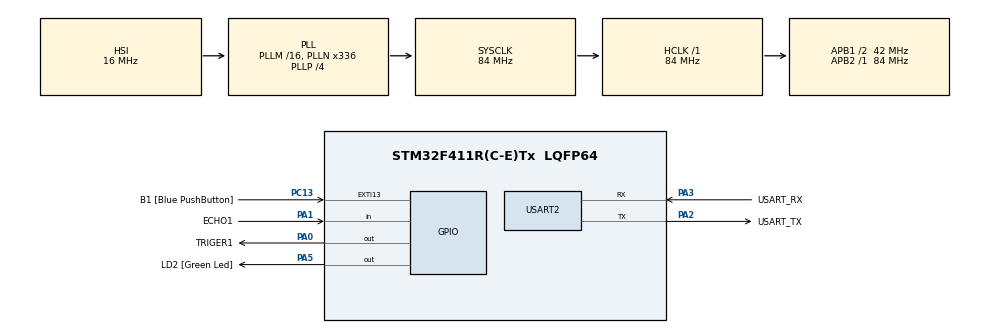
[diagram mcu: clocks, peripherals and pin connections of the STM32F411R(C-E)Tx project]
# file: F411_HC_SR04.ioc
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Mcu.Family=STM32F4
Mcu.Name=STM32F411R(C-E)Tx
Mcu.Package=LQFP64
NVIC.PriorityGroup=NVIC_PRIORITYGROUP_0
<<<<<<< HEAD
PA0-WKUP.GPIO_Label=ECHO1
PA0-WKUP.Signal=GPIO_Input
PA1.GPIO_Label=TRIGER1
PA1.Signal=GPIO_Output
=======
PA0-WKUP.GPIO_Label=TRIGER1
PA0-WKUP.Signal=GPIO_Output
PA1.GPIO_Label=ECHO1
PA1.Signal=GPIO_Input
>>>>>>> ef8b83fd473741e83a6c907f2e8680429d9dd87d
PA13.GPIO_Label=TMS
PA13.Mode=Serial_Wire
PA13.Signal=SYS_JTMS-SWDIO
PA14.GPIO_Label=TCK
PA14.Mode=Serial_Wire
PA14.Signal=SYS_JTCK-SWCLK
PA2.GPIO_Label=USART_TX
PA2.Mode=Asynchronous
PA2.Signal=USART2_TX
PA3.GPIO_Label=USART_RX
PA3.Mode=Asynchronous
PA3.Signal=USART2_RX
PA5.GPIO_Label=LD2 [Green Led]
PA5.Signal=GPIO_Output
PB3.GPIO_Label=SWO
PB3.Signal=SYS_JTDO-SWO
PC13-ANTI_TAMP.GPIO_Label=B1 [Blue PushButton]
PC13-ANTI_TAMP.GPIO_ModeDefaultEXTI=GPIO_MODE_IT_FALLING
PC13-ANTI_TAMP.Signal=GPXTI13
PC14-OSC32_IN.Signal=RCC_OSC32_IN
PC15-OSC32_OUT.Signal=RCC_OSC32_OUT
PH0\ -\ OSC_IN.Signal=RCC_OSC_IN
PH1\ -\ OSC_OUT.Signal=RCC_OSC_OUT
ProjectManager.HeapSize=0x200
ProjectManager.StackSize=0x400
ProjectManager.TargetToolchain=STM32CubeIDE
RCC.48MHZClocksFreq_Value=84000000
RCC.AHBFreq_Value=84000000
RCC.APB1CLKDivider=RCC_HCLK_DIV2
RCC.APB1Freq_Value=42000000
RCC.APB1TimFreq_Value=84000000
RCC.APB2Freq_Value=84000000
RCC.APB2TimFreq_Value=84000000
RCC.CortexFreq_Value=84000000
RCC.FLatency-AdvancedSettings=FLASH_LATENCY_2
RCC.HCLKFreq_Value=84000000
RCC.HSE_VALUE=8000000
RCC.HSI_VALUE=16000000
RCC.PLLN=336
RCC.PLLP=RCC_PLLP_DIV4
RCC.SYSCLKFreq_VALUE=84000000
RCC.SYSCLKSource=RCC_SYSCLKSOURCE_PLLCLK
RCC.VCOOutputFreq_Value=336000000
TIM1.AutoReloadPreload=TIM_AUTORELOAD_PRELOAD_ENABLE
TIM1.Prescaler=84-1
USART2.VirtualMode=VM_ASYNC
VP_TIM1_VS_ClockSourceINT.Mode=Internal
board=NUCLEO-F411RE

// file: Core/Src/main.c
/* USER CODE BEGIN Header */
/**
  ******************************************************************************
  * @file           : main.c
  * @brief          : Main program body
  ******************************************************************************
  * @attention
  *
  * Copyright (c) 2026 STMicroelectronics.
  * All rights reserved.
  *
  * This software is licensed under terms that can be found in the LICENSE file
  * in the root directory of this software component.
  * If no LICENSE file comes with this software, it is provided AS-IS.
  *
  ******************************************************************************
  */
/* USER CODE END Header */
#include "main.h"
#include "ultrasonic.h"

/* USER CODE BEGIN Includes */
#include <stdio.h>
/* USER CODE END Includes */

/* USER CODE BEGIN PD */
#define HIGH 1
#define LOW 0
long unsigned int echo_time;
int dist;
/* USER CODE END PD */

TIM_HandleTypeDef htim1;

UART_HandleTypeDef huart2;

void SystemClock_Config(void);
static void MX_GPIO_Init(void);
static void MX_USART2_UART_Init(void);
static void MX_TIM1_Init(void);

/* USER CODE BEGIN 0 */
#ifdef __GNUC__
/* With GCC, small printf (option LD Linker->Libraries->Small printf
   set to 'Yes') calls __io_putchar() */
#define PUTCHAR_PROTOTYPE int __io_putchar(int ch)
#else
#define PUTCHAR_PROTOTYPE int fputc(int ch, FILE *f)
#endif /* __GNUC__ */

/**
  * @brief  Retargets the C library printf function to the USART.
  * @param  None
  * @retval None
  */
PUTCHAR_PROTOTYPE
{
  /* Place your implementation of fputc here */
  /* e.g. write a character to the USART1 and Loop until the end of transmission */
  if (ch == '\n')
    HAL_UART_Transmit (&huart2, (uint8_t*) "\r", 1, 0xFFFF);
  HAL_UART_Transmit (&huart2, (uint8_t*) &ch, 1, 0xFFFF);

  return ch;
}

//void timer_start(void)
//{
//   HAL_TIM_Base_Start(&htim1);
//}

//void delay_us(uint16_t us)
//{
//   __HAL_TIM_SET_COUNTER(&htim1, 0); // initislize counter to start from 0
//   while((__HAL_TIM_GET_COUNTER(&htim1))<us); // wait count until us
//}

//void trig(void)
//{
//   HAL_GPIO_WritePin(TRIGER1_GPIO_Port, TRIGER1_Pin, HIGH);
//   delay_us(10);
//   HAL_GPIO_WritePin(TRIGER1_GPIO_Port, TRIGER1_Pin, LOW);
//}

/**
* @brief echo 신호가 HIGH를 유지하는 시간을 (㎲)단위로 측정하여 리턴한다.
* @param no param(void)
*/
//long unsigned int echo(void)
//{
//   long unsigned int echo = 0;
//
//   while(HAL_GPIO_ReadPin(ECHO1_GPIO_Port, ECHO1_Pin) == LOW){}
//        __HAL_TIM_SET_COUNTER(&htim1, 0);
//        while(HAL_GPIO_ReadPin(ECHO1_GPIO_Port, ECHO1_Pin) == HIGH);
//        echo = __HAL_TIM_GET_COUNTER(&htim1);
//   if( echo >= 240 && echo <= 23000 ) return echo;
//   else return 0;
//}

//uint32_t echo(void) {
//    uint32_t start_tick, start_time, end_time;
//
//    // ECHO HIGH 대기 (최대 10ms)
//    start_tick = HAL_GetTick();
//    while (HAL_GPIO_ReadPin(ECHO1_GPIO_Port, ECHO1_Pin) == GPIO_PIN_RESET) {
//        if ((HAL_GetTick() - start_tick) > 10) return 0;  // 10ms 초과 → 실패
//    }
//    start_time = __HAL_TIM_GET_COUNTER(&htim1);
//
//    // ECHO LOW 대기 (최대 30ms = HC-SR04 최대 측정 시간)
//    start_tick = HAL_GetTick();
//    while (HAL_GPIO_ReadPin(ECHO1_GPIO_Port, ECHO1_Pin) == GPIO_PIN_SET) {
//        if ((HAL_GetTick() - start_tick) > 30) return 0;  // 30ms 초과 → 범위 초과
//    }
//    end_time = __HAL_TIM_GET_COUNTER(&htim1);
//
//    return end_time - start_time;
//}
static void Sensor_Task(void)
{
  Ultrasonic_Result result;
  char line[80];

  Ultrasonic_Task();

  if (Ultrasonic_GetResult(&result) != 0U)
  {
    (void)snprintf(line, sizeof(line), "D,%lu,%u,%u,%lu\r\n",
                   (unsigned long)result.timestamp_ms,
                   (unsigned int)result.distance_mm,
                   (unsigned int)result.valid,
                   (unsigned long)result.errors);
   printf(line);
  }
/* USER CODE END 0 */

int main(void)
{

  /* MCU Configuration--------------------------------------------------------*/

  /* Reset of all peripherals, Initializes the Flash interface and the Systick. */
  HAL_Init();

  /* Configure the system clock */
  SystemClock_Config();

  /* Initialize all configured peripherals */
  MX_GPIO_Init();
  MX_USART2_UART_Init();
  MX_TIM1_Init();
  /* USER CODE BEGIN 2 */
  Ultrasonic_Init();
//  timer_start();
//  printf("Ranging with HC-SR04\n");
  /* USER CODE END 2 */

  /* Infinite loop */
  /* USER CODE BEGIN WHILE */
  while (1)
  {

	  Sensor_Task();// osilloscope_Trigger_Mode execute
//	  trig();
//	      echo_time = echo();
//	      if( echo_time != 0){
//	          dist = (int)(17 * echo_time / 100);
//	          printf("Distance = %d(mm)\n", dist);
//	      }
//	      else printf("Out of Range!\n");
//          HAL_Delay(200); /* 이 부분을 넣지 않으면 결과가 연속적으로 putty에서 보이지 않았음 */
    /* USER CODE END WHILE */

  }
}

void SystemClock_Config(void)
{
  RCC_OscInitTypeDef RCC_OscInitStruct = {0};
  RCC_ClkInitTypeDef RCC_ClkInitStruct = {0};

  /** Configure the main internal regulator output voltage
  */
  __HAL_RCC_PWR_CLK_ENABLE();
  __HAL_PWR_VOLTAGESCALING_CONFIG(PWR_REGULATOR_VOLTAGE_SCALE1);

  /** Initializes the RCC Oscillators according to the specified parameters
  * in the RCC_OscInitTypeDef structure.
  */
  RCC_OscInitStruct.OscillatorType = RCC_OSCILLATORTYPE_HSI;
  RCC_OscInitStruct.HSIState = RCC_HSI_ON;
  RCC_OscInitStruct.HSICalibrationValue = RCC_HSICALIBRATION_DEFAULT;
  RCC_OscInitStruct.PLL.PLLState = RCC_PLL_ON;
  RCC_OscInitStruct.PLL.PLLSource = RCC_PLLSOURCE_HSI;
  RCC_OscInitStruct.PLL.PLLM = 16;
  RCC_OscInitStruct.PLL.PLLN = 336;
  RCC_OscInitStruct.PLL.PLLP = RCC_PLLP_DIV4;
  RCC_OscInitStruct.PLL.PLLQ = 4;
  if (HAL_RCC_OscConfig(&RCC_OscInitStruct) != HAL_OK)
  {
    Error_Handler();
  }

  /** Initializes the CPU, AHB and APB buses clocks
  */
  RCC_ClkInitStruct.ClockType = RCC_CLOCKTYPE_HCLK|RCC_CLOCKTYPE_SYSCLK
                              |RCC_CLOCKTYPE_PCLK1|RCC_CLOCKTYPE_PCLK2;
  RCC_ClkInitStruct.SYSCLKSource = RCC_SYSCLKSOURCE_PLLCLK;
  RCC_ClkInitStruct.AHBCLKDivider = RCC_SYSCLK_DIV1;
  RCC_ClkInitStruct.APB1CLKDivider = RCC_HCLK_DIV2;
  RCC_ClkInitStruct.APB2CLKDivider = RCC_HCLK_DIV1;

  if (HAL_RCC_ClockConfig(&RCC_ClkInitStruct, FLASH_LATENCY_2) != HAL_OK)
  {
    Error_Handler();
  }
}

static void MX_TIM1_Init(void)
{

  TIM_ClockConfigTypeDef sClockSourceConfig = {0};
  TIM_MasterConfigTypeDef sMasterConfig = {0};

  htim1.Instance = TIM1;
  htim1.Init.Prescaler = 84-1;
  htim1.Init.CounterMode = TIM_COUNTERMODE_UP;
  htim1.Init.Period = 65535;
  htim1.Init.ClockDivision = TIM_CLOCKDIVISION_DIV1;
  htim1.Init.RepetitionCounter = 0;
  htim1.Init.AutoReloadPreload = TIM_AUTORELOAD_PRELOAD_ENABLE;
  if (HAL_TIM_Base_Init(&htim1) != HAL_OK)
  {
    Error_Handler();
  }
  sClockSourceConfig.ClockSource = TIM_CLOCKSOURCE_INTERNAL;
  if (HAL_TIM_ConfigClockSource(&htim1, &sClockSourceConfig) != HAL_OK)
  {
    Error_Handler();
  }
  sMasterConfig.MasterOutputTrigger = TIM_TRGO_RESET;
  sMasterConfig.MasterSlaveMode = TIM_MASTERSLAVEMODE_DISABLE;
  if (HAL_TIMEx_MasterConfigSynchronization(&htim1, &sMasterConfig) != HAL_OK)
  {
    Error_Handler();
  }

}

static void MX_USART2_UART_Init(void)
{

  huart2.Instance = USART2;
  huart2.Init.BaudRate = 115200;
  huart2.Init.WordLength = UART_WORDLENGTH_8B;
  huart2.Init.StopBits = UART_STOPBITS_1;
  huart2.Init.Parity = UART_PARITY_NONE;
  huart2.Init.Mode = UART_MODE_TX_RX;
  huart2.Init.HwFlowCtl = UART_HWCONTROL_NONE;
  huart2.Init.OverSampling = UART_OVERSAMPLING_16;
  if (HAL_UART_Init(&huart2) != HAL_OK)
  {
    Error_Handler();
  }

}

static void MX_GPIO_Init(void)
{
  GPIO_InitTypeDef GPIO_InitStruct = {0};

  /* GPIO Ports Clock Enable */
  __HAL_RCC_GPIOC_CLK_ENABLE();
  __HAL_RCC_GPIOH_CLK_ENABLE();
  __HAL_RCC_GPIOA_CLK_ENABLE();
  __HAL_RCC_GPIOB_CLK_ENABLE();

  /*Configure GPIO pin Output Level */
  HAL_GPIO_WritePin(GPIOA, TRIGER1_Pin|LD2_Pin, GPIO_PIN_RESET);

  /*Configure GPIO pin : B1_Pin */
  GPIO_InitStruct.Pin = B1_Pin;
  GPIO_InitStruct.Mode = GPIO_MODE_IT_FALLING;
  GPIO_InitStruct.Pull = GPIO_NOPULL;
  HAL_GPIO_Init(B1_GPIO_Port, &GPIO_InitStruct);

  /*Configure GPIO pin : ECHO1_Pin */
  GPIO_InitStruct.Pin = ECHO1_Pin;
  GPIO_InitStruct.Mode = GPIO_MODE_INPUT;
  GPIO_InitStruct.Pull = GPIO_NOPULL;
  HAL_GPIO_Init(ECHO1_GPIO_Port, &GPIO_InitStruct);

  /*Configure GPIO pins : TRIGER1_Pin LD2_Pin */
  GPIO_InitStruct.Pin = TRIGER1_Pin|LD2_Pin;
  GPIO_InitStruct.Mode = GPIO_MODE_OUTPUT_PP;
  GPIO_InitStruct.Pull = GPIO_NOPULL;
  GPIO_InitStruct.Speed = GPIO_SPEED_FREQ_LOW;
  HAL_GPIO_Init(GPIOA, &GPIO_InitStruct);

}

/* USER CODE BEGIN 4 */
void HAL_GPIO_EXTI_Callback(uint16_t GPIO_Pin)
{
  if (GPIO_Pin == ECHO_Pin)
  {
    Ultrasonic_OnEchoEdge();
  }
  else if (GPIO_Pin == B1_Pin)
  {
    HAL_GPIO_TogglePin(LD2_GPIO_Port, LD2_Pin);
  }
}
/* USER CODE END 4 */

void Error_Handler(void)
{
  __disable_irq();
  while (1)
  {
  }
}
